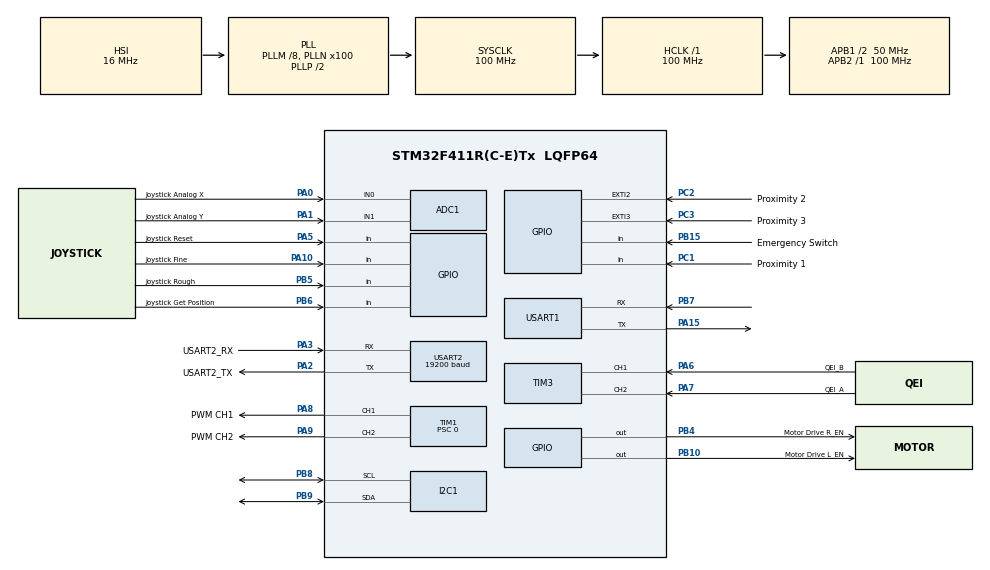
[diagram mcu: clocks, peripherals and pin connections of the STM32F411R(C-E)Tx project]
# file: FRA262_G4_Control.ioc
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ADC1.Channel-0\#ChannelRegularConversion=ADC_CHANNEL_0
ADC1.Channel-1\#ChannelRegularConversion=ADC_CHANNEL_1
ADC1.ContinuousConvMode=ENABLE
ADC1.DMAContinuousRequests=ENABLE
ADC1.NbrOfConversion=2
ADC1.NbrOfConversionFlag=1
ADC1.Rank-0\#ChannelRegularConversion=1
ADC1.Rank-1\#ChannelRegularConversion=2
ADC1.SamplingTime-0\#ChannelRegularConversion=ADC_SAMPLETIME_56CYCLES
ADC1.SamplingTime-1\#ChannelRegularConversion=ADC_SAMPLETIME_56CYCLES
ADC1.ScanConvMode=ENABLE
ADC1.master=1
ARM.CMSIS.5.6.0.CMSISJjCORE=true
ARM.CMSIS.5.6.0.CMSISJjDSP=Library
Dma.ADC1.0.Direction=DMA_PERIPH_TO_MEMORY
Dma.ADC1.0.FIFOMode=DMA_FIFOMODE_DISABLE
Dma.ADC1.0.Instance=DMA2_Stream0
Dma.ADC1.0.MemDataAlignment=DMA_MDATAALIGN_WORD
Dma.ADC1.0.MemInc=DMA_MINC_ENABLE
Dma.ADC1.0.Mode=DMA_CIRCULAR
Dma.ADC1.0.PeriphDataAlignment=DMA_PDATAALIGN_WORD
Dma.ADC1.0.PeriphInc=DMA_PINC_DISABLE
Dma.ADC1.0.Priority=DMA_PRIORITY_LOW
Dma.Request0=ADC1
Dma.Request1=USART2_TX
Dma.USART2_TX.1.Direction=DMA_MEMORY_TO_PERIPH
Dma.USART2_TX.1.FIFOMode=DMA_FIFOMODE_DISABLE
Dma.USART2_TX.1.Instance=DMA1_Stream6
Dma.USART2_TX.1.MemDataAlignment=DMA_MDATAALIGN_BYTE
Dma.USART2_TX.1.MemInc=DMA_MINC_ENABLE
Dma.USART2_TX.1.Mode=DMA_NORMAL
Dma.USART2_TX.1.PeriphDataAlignment=DMA_PDATAALIGN_BYTE
Dma.USART2_TX.1.PeriphInc=DMA_PINC_DISABLE
Dma.USART2_TX.1.Priority=DMA_PRIORITY_LOW
Mcu.Family=STM32F4
Mcu.Name=STM32F411R(C-E)Tx
Mcu.Package=LQFP64
Mcu.UserConstants=QEI_PERIOD,65536
NVIC.DMA1_Stream6_IRQn=true\:0\:0\:false\:false\:true\:false\:true\:true
NVIC.DMA2_Stream0_IRQn=true\:0\:0\:false\:false\:true\:false\:true\:true
NVIC.EXTI2_IRQn=true\:0\:0\:false\:false\:true\:true\:true\:true
NVIC.EXTI3_IRQn=true\:0\:0\:false\:false\:true\:true\:true\:true
NVIC.I2C1_ER_IRQn=true\:0\:0\:false\:false\:true\:true\:true\:true
NVIC.I2C1_EV_IRQn=true\:0\:0\:false\:false\:true\:true\:true\:true
NVIC.PriorityGroup=NVIC_PRIORITYGROUP_0
NVIC.TIM1_BRK_TIM9_IRQn=true\:0\:5\:false\:false\:true\:true\:true\:true
NVIC.TIM1_TRG_COM_TIM11_IRQn=true\:0\:0\:false\:false\:true\:true\:true\:true
NVIC.USART1_IRQn=true\:0\:0\:false\:false\:true\:true\:true\:true
NVIC.USART2_IRQn=true\:0\:0\:false\:false\:true\:true\:true\:true
PA0-WKUP.GPIO_Label=Joystick Analog X
PA0-WKUP.Signal=ADCx_IN0
PA1.GPIO_Label=Joystick Analog Y
PA1.Signal=ADCx_IN1
PA10.GPIO_Label=Joystick Fine
PA10.Signal=GPIO_Input
PA13.GPIO_Label=TMS
PA13.Mode=Serial_Wire
PA13.Signal=SYS_JTMS-SWDIO
PA14.GPIO_Label=TCK
PA14.Mode=Serial_Wire
PA14.Signal=SYS_JTCK-SWCLK
PA15.Mode=Asynchronous
PA15.Signal=USART1_TX
PA2.GPIO_Label=USART2_TX
PA2.Mode=Asynchronous
PA2.Signal=USART2_TX
PA3.GPIO_Label=USART2_RX
PA3.Mode=Asynchronous
PA3.Signal=USART2_RX
PA5.GPIO_Label=Joystick Reset
PA5.Signal=GPIO_Input
PA6.GPIO_Label=QEI_B
PA6.Signal=S_TIM3_CH1
PA7.GPIO_Label=QEI_A
PA7.Signal=S_TIM3_CH2
PA8.GPIO_Label=PWM CH1
PA8.Signal=S_TIM1_CH1
PA9.GPIO_Label=PWM CH2
PA9.Signal=S_TIM1_CH2
PB10.GPIO_Label=Motor Drive L_EN
PB10.PinState=GPIO_PIN_RESET
PB10.Signal=GPIO_Output
PB15.GPIO_Label=Emergency Switch
PB15.GPIO_PuPd=GPIO_PULLDOWN
PB15.Signal=GPIO_Input
PB3.Signal=SYS_JTDO-SWO
PB4.GPIO_Label=Motor Drive R_EN
PB4.Signal=GPIO_Output
PB5.GPIO_Label=Joystick Rough
PB5.Signal=GPIO_Input
PB6.GPIO_Label=Joystick Get Position
PB6.Signal=GPIO_Input
PB7.Mode=Asynchronous
PB7.Signal=USART1_RX
PB8.Mode=I2C
PB8.Signal=I2C1_SCL
PB9.Mode=I2C
PB9.Signal=I2C1_SDA
PC1.GPIO_Label=Proximity 1
PC1.GPIO_PuPd=GPIO_NOPULL
PC1.Signal=GPIO_Input
PC14-OSC32_IN.Mode=LSE-External-Oscillator
PC14-OSC32_IN.Signal=RCC_OSC32_IN
PC15-OSC32_OUT.Mode=LSE-External-Oscillator
PC15-OSC32_OUT.Signal=RCC_OSC32_OUT
PC2.GPIO_Label=Proximity 2
PC2.GPIO_ModeDefaultEXTI=GPIO_MODE_IT_FALLING
PC2.GPIO_PuPd=GPIO_NOPULL
PC2.Signal=GPXTI2
PC3.GPIO_Label=Proximity 3
PC3.GPIO_ModeDefaultEXTI=GPIO_MODE_IT_FALLING
PC3.GPIO_PuPd=GPIO_NOPULL
PC3.Signal=GPXTI3
PH0\ -\ OSC_IN.Mode=HSE-External-Clock-Source
PH0\ -\ OSC_IN.Signal=RCC_OSC_IN
PH1\ -\ OSC_OUT.Mode=HSE-External-Clock-Source
PH1\ -\ OSC_OUT.Signal=RCC_OSC_OUT
ProjectManager.HeapSize=0x200
ProjectManager.StackSize=0x400
ProjectManager.TargetToolchain=STM32CubeIDE
RCC.48MHZClocksFreq_Value=50000000
RCC.AHBFreq_Value=100000000
RCC.APB1CLKDivider=RCC_HCLK_DIV2
RCC.APB1Freq_Value=50000000
RCC.APB1TimFreq_Value=100000000
RCC.APB2Freq_Value=100000000
RCC.APB2TimFreq_Value=100000000
RCC.CortexFreq_Value=100000000
RCC.FLatency-AdvancedSettings=FLASH_LATENCY_3
RCC.HCLKFreq_Value=100000000
RCC.HSE_VALUE=8000000
RCC.HSI_VALUE=16000000
RCC.PLLM=8
RCC.PLLN=100
RCC.SYSCLKFreq_VALUE=100000000
RCC.SYSCLKSource=RCC_SYSCLKSOURCE_PLLCLK
RCC.VCOOutputFreq_Value=200000000
SH.ADCx_IN0.0=ADC1_IN0,IN0
SH.ADCx_IN1.0=ADC1_IN1,IN1
SH.S_TIM1_CH1.0=TIM1_CH1,PWM Generation1 CH1
SH.S_TIM1_CH2.0=TIM1_CH2,PWM Generation2 CH2
SH.S_TIM3_CH1.0=TIM3_CH1,Encoder_Interface
SH.S_TIM3_CH2.0=TIM3_CH2,Encoder_Interface
TIM1.Channel-PWM\ Generation1\ CH1=TIM_CHANNEL_1
TIM1.Channel-PWM\ Generation2\ CH2=TIM_CHANNEL_2
TIM1.Period=49999
TIM1.Prescaler=0
TIM11.Channel=TIM_CHANNEL_1
TIM11.OCMode_1=TIM_OCMODE_ACTIVE
TIM11.Period=2005
TIM11.Prescaler=99
TIM11.Pulse=1433
TIM3.EncoderMode=TIM_ENCODERMODE_TI12
TIM9.Period=999
TIM9.Prescaler=99
USART1.VirtualMode=VM_ASYNC
USART2.BaudRate=19200
USART2.Parity=PARITY_EVEN
USART2.VirtualMode=VM_ASYNC
USART2.WordLength=WORDLENGTH_9B
VP_ARM.CMSIS_VS_CMSISJjCORE_5.3.0_5.6.0.Mode=CMSISJjCORE
VP_ARM.CMSIS_VS_CMSISJjDSP_1.7.0_5.6.0.Mode=CMSISJjDSP
VP_TIM11_VS_ClockSourceINT.Mode=Enable_Timer
VP_TIM11_VS_OPM.Mode=OPM_bit
VP_TIM11_VS_no_output1.Mode=Output Compare1 No Output
VP_TIM9_VS_ClockSourceINT.Mode=Internal
board=NUCLEO-F411RE

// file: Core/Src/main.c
/* USER CODE BEGIN Header */
/**
  ******************************************************************************
  * @file           : main.c
  * @brief          : Main program body
  ******************************************************************************
  * @attention
  *
  * Copyright (c) 2023 STMicroelectronics.
  * All rights reserved.
  *
  * This software is licensed under terms that can be found in the LICENSE file
  * in the root directory of this software component.
  * If no LICENSE file comes with this software, it is provided AS-IS.
  *
  ******************************************************************************
  */
/* USER CODE END Header */
#include "main.h"

/* USER CODE BEGIN Includes */
#include "math.h"
#include "arm_math.h"
#include "ModBusRTU.h"
#include "stdio.h"
#include "string.h"
/* USER CODE END Includes */

ADC_HandleTypeDef hadc1;
DMA_HandleTypeDef hdma_adc1;

I2C_HandleTypeDef hi2c1;

TIM_HandleTypeDef htim1;
TIM_HandleTypeDef htim3;
TIM_HandleTypeDef htim9;
TIM_HandleTypeDef htim11;

UART_HandleTypeDef huart1;
UART_HandleTypeDef huart2;
DMA_HandleTypeDef hdma_usart2_tx;

/* USER CODE BEGIN PV */
// scheduler //
int scheduler = 5;
int HoleSequence = 0 ;
int TaskType = 1;

// microsecond timer //
uint64_t _micros = 0;
int64_t currentTime;

float duty = 0;
int direction = 0;
int R_EN = 1;
int L_EN = 1;

// Trajectory //
int Trajectstate = 0;
float time = 0;

float qf;
float qi;
float qdi;
float qd_max = 500;
float qdd_max = 400;
float initime = 0;

float t_half = 0;

float qdi_1 = 0;
float qdi_2 = 0;
float qi_1 = 0;
float qi_2 = 0;

float tacc ;
float qacc ;
float qdec ;
float tconst ;
float tdec ;

// PID //
int PIDFrag = 0;
int16_t position = 0;
int16_t Overshootposition = 0;
float PercentOS = 0;
float position_f = 0;
int16_t Yactualposition = 0;
float setposition = 0;
float errorposition = 0;
float u_position = 0;
float pre_errorposition = 0;
float pre_errorvelocity = 0;

float integral_p = 0;
float derivative_p = 0;
float integral_v = 0;
float derivative_v = 0;

float velocity = 0;
float velocity_mm = 0;
float Accel = 0;
float Accel_mm = 0;
float setvelocity = 0;
float sumsetvelocity = 0;
float errorvelocity = 0;

float setacc = 0;

//Without mass
float Kp_p = 100;
float Ki_p = 1.5;
float Kd_p = 0.02;

// Joystick //
int state = 1;
typedef struct LocationStructure
{
	float L1[2];
	float L2[2];
	float hole_x[9];
	float hole_y[9];
	int16_t origin_x;
	int16_t origin_y;
	int16_t orientation;
	int16_t hole_x_16;
	int16_t hole_y_16;
}Location;
Location PickTray;
Location PlaceTray;

double DeltaX = 0;
double DeltaY = 0;
double angle = 0;
float cos_Theta = 0;
float sin_Theta = 0;
float Theta = 0;

typedef struct ButtonStructure
{
	int last;
	int current;
	int flag;
}Button;
Button GetPositionButton;
Button ResetButton;
Button FineButton;
Button RoughButton;
Button HomingButton;
Button LaserUI;
Button GripperUI;
Button Emer;

int XYSwitch[2];
int JoySpeed = 0;

// End Effector //
uint8_t EndEffectorWriteFlag = 0;
uint8_t EndEffectorReadFlag = 0;
uint8_t EndEffectorDataReadBack[1];

uint8_t SoftReset[4] = {0x00, 0xFF, 0x55, 0xAA};
uint8_t Emergency[1] = {0xFF};
uint8_t QuitEmergency[4] = {0xE5, 0x7A, 0xFF, 0x81};
uint8_t TestModeOn[2] = {0x01, 0x11};
uint8_t TestModeOff[2] = {0x01, 0x00};
uint8_t RunModeOn[2] = {0x10, 0x13};
uint8_t RunModeOff[2] = {0x10, 0x8C};
uint8_t PickData[2] = {0x10, 0x5A};
uint8_t PlaceData[2] = {0x10, 0x69};

int EndEffectorState = 0 ;

// Proximity //
int Proximity = 3;
int Emercount = 0;

//Modbus Protocal//
ModbusHandleTypedef hmodbus;
u16u8_t registerFrame[70];

char TxBuffer[80] = "";

//Go Point
int16_t GoalX = 0;
int16_t last_GoalX = 0;
int PointModeflag = 0;

/* USER CODE END PV */

void SystemClock_Config(void);
static void MX_GPIO_Init(void);
static void MX_DMA_Init(void);
static void MX_USART2_UART_Init(void);
static void MX_TIM3_Init(void);
static void MX_TIM1_Init(void);
static void MX_ADC1_Init(void);
static void MX_USART1_UART_Init(void);
static void MX_TIM11_Init(void);
static void MX_TIM9_Init(void);
static void MX_I2C1_Init(void);
/* USER CODE BEGIN PFP */
void VelocityApprox();
void AccelerationApprox();
void JoystickControl();
void JoystickPinUpdate();
void JoystickLocationState();
float PIDcal();
void TrajectoryGenerator();
void Homing();
void EndEffectorWrite();
void Routine();
/* USER CODE END PFP */

int main(void)
{

  /* MCU Configuration--------------------------------------------------------*/

  /* Reset of all peripherals, Initializes the Flash interface and the Systick. */
  HAL_Init();

  /* Configure the system clock */
  SystemClock_Config();

  /* Initialize all configured peripherals */
  MX_GPIO_Init();
  MX_DMA_Init();
  MX_USART2_UART_Init();
  MX_TIM3_Init();
  MX_TIM1_Init();
  MX_ADC1_Init();
  MX_USART1_UART_Init();
  MX_TIM11_Init();
  MX_TIM9_Init();
  MX_I2C1_Init();
  /* USER CODE BEGIN 2 */

  hmodbus.huart = &huart2;
  hmodbus.htim = &htim11;
  hmodbus.slaveAddress = 0x15;
  hmodbus.RegisterSize = 70;
  Modbus_init(&hmodbus, registerFrame);

  HAL_TIM_Encoder_Start(&htim3, TIM_CHANNEL_1|TIM_CHANNEL_2);

  HAL_TIM_Base_Start(&htim1); //Start Timer1
  HAL_TIM_PWM_Start(&htim1, TIM_CHANNEL_1);
  HAL_TIM_PWM_Start(&htim1, TIM_CHANNEL_2);

//  HAL_TIM_Base_Start_IT(&htim9); //Start IT Timer9
//  HAL_TIM_Base_Start_IT(&htim4); //Start IT Timer4

  HAL_GPIO_WritePin(GPIOB, GPIO_PIN_10, L_EN);
  HAL_GPIO_WritePin(GPIOB, GPIO_PIN_4, R_EN);

  HAL_ADC_Start_DMA(&hadc1, XYSwitch, 2);

  registerFrame[1].U16 = 0;
  EndEffectorState = 0;	//SoftReset
  EndEffectorWriteFlag = 1;
  EndEffectorWrite();

  /* USER CODE END 2 */

  /* Infinite loop */
  /* USER CODE BEGIN WHILE */
  while (1)
  {
	  Modbus_Protocal_Worker();
	  static uint32_t heartbeat = 0;
	  static uint32_t uart_time = 0;
	  if(heartbeat < HAL_GetTick())
	  {
		  heartbeat = HAL_GetTick()+200;
		  registerFrame[0].U16 = 22881;
	  }

	  if (huart1.gState == HAL_UART_STATE_READY && (HAL_GetTick() >= uart_time))
	  {
		  sprintf(TxBuffer,"%d %.2f %.2f %.2f\r\n",position, setposition, velocity_mm, Accel_mm);
		  HAL_UART_Transmit_IT(&huart1, (uint8_t *)TxBuffer, strlen(TxBuffer));
		  uart_time += 20;
	  }
    /* USER CODE END WHILE */

    /* USER CODE BEGIN 3 */
	  Routine(); //Sent Y Actual Position Velocity Acceleration to Base System
	  JoystickPinUpdate(); //Check Pin Flag

	  //Emergency
	  if(HAL_GPIO_ReadPin(GPIOB, GPIO_PIN_15) == 0) //Push Emergency
	  {
		  if(Emercount == 0)
		  {
			  EndEffectorState = 7;	//Emergency
			  EndEffectorWriteFlag = 1;
			  EndEffectorWrite();
			  Emercount = 1;
			  scheduler = 6;
		  }
	  }

	  switch(scheduler)
	  {
	  //JoyStick
	  case 0:
		  //QEI
		  position = __HAL_TIM_GET_COUNTER(&htim3);
		  JoystickControl(); //Read Pin form JoyStick
		  JoystickLocationState();

		  ////////////////////////////////////////////////////////////
		  if(LaserUI.flag == 1)
		  {
			  EndEffectorState = 1;	//TestModeOn
			  EndEffectorWriteFlag = 1;
			  EndEffectorWrite();
		  }
		  if(LaserUI.flag == 2)
		  {
			  EndEffectorState = 2;	//TestModeOff
			  EndEffectorWriteFlag = 1;
			  EndEffectorWrite();
		  }
		  ///////////////////////////////////////////////////////////
		  //write//
		  if(GripperUI.flag == 1)
		  {
			  EndEffectorState = 3;	//Gripper Power On
			  EndEffectorWriteFlag = 1;
			  EndEffectorWrite();
		  }
		  if(GripperUI.flag == 2)
		  {
			  EndEffectorState = 6;	//Gripper Power Off
			  EndEffectorWriteFlag = 1;
			  EndEffectorWrite();
		  }
		  if(GripperUI.flag == 3)
		  {
			  EndEffectorState = 4;	//Gripper Pick
			  EndEffectorWriteFlag = 1;
			  EndEffectorWrite();
			  EndEffectorReadFlag = 1;
		  }
		  if(GripperUI.flag == 4)
		  {
			  EndEffectorState = 5;	//Gripper Place
			  EndEffectorWriteFlag = 1;
			  EndEffectorWrite();
			  EndEffectorReadFlag = 1;
		  }
		  static uint32_t Readbeat = 0;
		  if(Readbeat < HAL_GetTick())
		  {
			  Readbeat = HAL_GetTick()+100 ;
			  //Read//
			  if(EndEffectorReadFlag == 1 && hi2c1.State == HAL_I2C_STATE_READY)
			  {
				  HAL_I2C_Master_Receive_IT(&hi2c1, 0x15 << 1, EndEffectorDataReadBack, 1);
				  if(EndEffectorDataReadBack[0] == 0x07) // Picked
				  {
					  registerFrame[2].U16 = 2;
					  EndEffectorReadFlag = 0;
				  }
				  else if(EndEffectorDataReadBack[0] == 0x04) // Placed
				  {
					  registerFrame[2].U16 = 2;
					  EndEffectorReadFlag = 0;
				  }
			  }
		  }

		  if(registerFrame[1].U16 == 16) //Run Point Mode
		  {
			  scheduler = 7;
		  }
		  else if(registerFrame[1].U16 == 4) //Home
		  {
			  registerFrame[64].U16 = 1;
			  Proximity = 3;
			  scheduler = 5;
		  }
		  break;

	  //Go Pick
	  case 1 :
		  registerFrame[16].U16 = 8; //Y Moving Status: Go Pick
		  qf = (PickTray.hole_y[HoleSequence])/0.045;
		  qi = position;
		  PickTray.hole_x_16 = PickTray.hole_x[HoleSequence]*10;
		  registerFrame[65].U16 = PickTray.hole_x_16;
		  registerFrame[66].U16 = 3000;
		  registerFrame[67].U16 = 1;
		  registerFrame[64].U16 = 2; //X Moving Status: Run
		  Trajectstate = 0;
		  duty = 0;
		  HAL_TIM_Base_Start_IT(&htim9); //Start IT Timer9
		  scheduler = 3;
		  break;

	  //Go Place
	  case 2 :
		  registerFrame[16].U16 = 16; //Y Moving Status: Go Place
		  qf = (PlaceTray.hole_y[HoleSequence])/0.045;
		  qi = position;
		  PlaceTray.hole_x_16 = PlaceTray.hole_x[HoleSequence]*10;
		  registerFrame[65].U16 = PlaceTray.hole_x_16;
		  registerFrame[66].U16 = 3000;
		  registerFrame[67].U16 = 1;
		  registerFrame[64].U16 = 2; //X Moving Status: Run
		  Trajectstate = 0;
		  duty = 0;
		  HAL_TIM_Base_Start_IT(&htim9); //Start IT Timer9
		  scheduler = 3;
		  break;

	  //Trajectory
	  case 3:
		  //QEI
		  position = __HAL_TIM_GET_COUNTER(&htim3);
		  static uint32_t timestamp0 = 0;
		  if(HAL_GetTick() > timestamp0)
		  {
			  timestamp0 = HAL_GetTick() + 1;
			  VelocityApprox();
			  AccelerationApprox();
		  }

		  //PWM & Motor drive & PID
//		  static uint32_t timestamp2 = 0;
//		  if (HAL_GetTick()>= timestamp2)
//		  {
//			  timestamp2 = HAL_GetTick() + 1;
//			  duty = PIDcal();
//			  if (duty >= 0)
//			  {
//				  __HAL_TIM_SET_COMPARE(&htim1,TIM_CHANNEL_2,0);
//				  __HAL_TIM_SET_COMPARE(&htim1,TIM_CHANNEL_1,duty);
//			  }
//			  else if (duty < 0)
//			  {
//				  __HAL_TIM_SET_COMPARE(&htim1,TIM_CHANNEL_1,0);
//				  __HAL_TIM_SET_COMPARE(&htim1,TIM_CHANNEL_2,-1*duty);
//			  }
//		  }

		  if(position > Overshootposition){
			  Overshootposition = position;
			  PercentOS = ((Overshootposition-qf)/(qf-qi))*100;
		  }
		  // Check Final Position
		  if(position >= qf - 4 && position <= qf + 4 && registerFrame[64].U16 == 0) //&& registerFrame[64].U16 == 0
		  {
			  __HAL_TIM_SET_COMPARE(&htim1,TIM_CHANNEL_1,0);
			  __HAL_TIM_SET_COMPARE(&htim1,TIM_CHANNEL_2,0);
			  Overshootposition = 0;
			  PIDFrag = 0;
			  HAL_TIM_Base_Stop_IT(&htim9); //Stop IT Timer9

			  if(PointModeflag == 1)
			  {
				  registerFrame[16].U16 = 0;
				  scheduler = 0;
			  }
			  else
			  {
				  // End Effector
				  EndEffectorWriteFlag = 1;
				  scheduler = 4;
			  }
		  }

		  // Reset Button
		  if (ResetButton.flag == 1)
		  {
			  ResetButton.flag = 0;
			  scheduler = 0;
		  }
		  break;

	  //Proximity
	  case 4 :
		  if (HoleSequence < 9)
		  {
			  if (TaskType == 1)
			  {
				  EndEffectorState = 4;			//Pick
				  EndEffectorWrite();
			  }
			  else if (TaskType == -1)
			  {
				  EndEffectorState = 5;			//Place
				  EndEffectorWrite();
			  }
		  }
		  if (ResetButton.flag == 1)
			  {
				  ResetButton.flag = 0;
				  scheduler = 0;
			  }

		  break;

	  //Homing
	  case 5:
		  Homing();
		  break;

	  //Emergency
	  case 6:
		  __HAL_TIM_SET_COMPARE(&htim1,TIM_CHANNEL_1,0);
		  __HAL_TIM_SET_COMPARE(&htim1,TIM_CHANNEL_2,0);
		  duty = 0;

		  static uint32_t Emerstamp = 0;
		  if(Emerstamp < HAL_GetTick())
		  {
			  Emerstamp = HAL_GetTick()+200;
			  if(HAL_GPIO_ReadPin(GPIOB, GPIO_PIN_15) == 1 && Emer.last == 1)
			  {
				  HAL_Delay(2000);
				  Emercount = 0;
				  EndEffectorState = 8;	//Quit Emergency
				  EndEffectorWriteFlag = 1;
				  EndEffectorWrite();
				  Proximity = 3;
				  scheduler = 5;
			  }
			  Emer.last = HAL_GPIO_ReadPin(GPIOB, GPIO_PIN_15);
		  }
		  break;

	  //Go Point
	  case 7:
		  registerFrame[1].U16 = 0;
		  registerFrame[16].U16 = 32;

		  //X Axis
		  GoalX = registerFrame[48].U16;  	// Use int16 to store -integer
		  registerFrame[65].U16 = GoalX;  	// x-axis Target Position
		  registerFrame[66].U16 = 3000;   	// Max Speed
		  registerFrame[67].U16 = 1;        // 500 ms
		  if(registerFrame[65].U16 != last_GoalX){
			  registerFrame[64].U16 = 2;  	// RUN
		  }
		  last_GoalX = registerFrame[65].U16; // press RUN in Base System
//		  registerFrame[64].U16 = 2;  	// RUN

		  //Y Axis
		  Trajectstate = 0;
		  if(registerFrame[49].U16 >= 30000)
		  {
			  qf = (registerFrame[49].U16-65536)/0.45; //pulse
		  }
		  else
		  {
			  qf = (registerFrame[49].U16)/0.45; //Pick Tray X Position 1 //pulse
		  }
		  qi = position;
		  HAL_TIM_Base_Start_IT(&htim9); //Start IT Timer9
		  PointModeflag = 1;
		  duty = 0;
		  scheduler = 3;
		  break;
	  }
  }
  /* USER CODE END 3 */
}

void SystemClock_Config(void)
{
  RCC_OscInitTypeDef RCC_OscInitStruct = {0};
  RCC_ClkInitTypeDef RCC_ClkInitStruct = {0};

  /** Configure the main internal regulator output voltage
  */
  __HAL_RCC_PWR_CLK_ENABLE();
  __HAL_PWR_VOLTAGESCALING_CONFIG(PWR_REGULATOR_VOLTAGE_SCALE1);

  /** Initializes the RCC Oscillators according to the specified parameters
  * in the RCC_OscInitTypeDef structure.
  */
  RCC_OscInitStruct.OscillatorType = RCC_OSCILLATORTYPE_HSI;
  RCC_OscInitStruct.HSIState = RCC_HSI_ON;
  RCC_OscInitStruct.HSICalibrationValue = RCC_HSICALIBRATION_DEFAULT;
  RCC_OscInitStruct.PLL.PLLState = RCC_PLL_ON;
  RCC_OscInitStruct.PLL.PLLSource = RCC_PLLSOURCE_HSI;
  RCC_OscInitStruct.PLL.PLLM = 8;
  RCC_OscInitStruct.PLL.PLLN = 100;
  RCC_OscInitStruct.PLL.PLLP = RCC_PLLP_DIV2;
  RCC_OscInitStruct.PLL.PLLQ = 4;
  if (HAL_RCC_OscConfig(&RCC_OscInitStruct) != HAL_OK)
  {
    Error_Handler();
  }

  /** Initializes the CPU, AHB and APB buses clocks
  */
  RCC_ClkInitStruct.ClockType = RCC_CLOCKTYPE_HCLK|RCC_CLOCKTYPE_SYSCLK
                              |RCC_CLOCKTYPE_PCLK1|RCC_CLOCKTYPE_PCLK2;
  RCC_ClkInitStruct.SYSCLKSource = RCC_SYSCLKSOURCE_PLLCLK;
  RCC_ClkInitStruct.AHBCLKDivider = RCC_SYSCLK_DIV1;
  RCC_ClkInitStruct.APB1CLKDivider = RCC_HCLK_DIV2;
  RCC_ClkInitStruct.APB2CLKDivider = RCC_HCLK_DIV1;

  if (HAL_RCC_ClockConfig(&RCC_ClkInitStruct, FLASH_LATENCY_3) != HAL_OK)
  {
    Error_Handler();
  }
}

static void MX_ADC1_Init(void)
{

  ADC_ChannelConfTypeDef sConfig = {0};

  /** Configure the global features of the ADC (Clock, Resolution, Data Alignment and number of conversion)
  */
  hadc1.Instance = ADC1;
  hadc1.Init.ClockPrescaler = ADC_CLOCK_SYNC_PCLK_DIV4;
  hadc1.Init.Resolution = ADC_RESOLUTION_12B;
  hadc1.Init.ScanConvMode = ENABLE;
  hadc1.Init.ContinuousConvMode = ENABLE;
  hadc1.Init.DiscontinuousConvMode = DISABLE;
  hadc1.Init.ExternalTrigConvEdge = ADC_EXTERNALTRIGCONVEDGE_NONE;
  hadc1.Init.ExternalTrigConv = ADC_SOFTWARE_START;
  hadc1.Init.DataAlign = ADC_DATAALIGN_RIGHT;
  hadc1.Init.NbrOfConversion = 2;
  hadc1.Init.DMAContinuousRequests = ENABLE;
  hadc1.Init.EOCSelection = ADC_EOC_SINGLE_CONV;
  if (HAL_ADC_Init(&hadc1) != HAL_OK)
  {
    Error_Handler();
  }

  /** Configure for the selected ADC regular channel its corresponding rank in the sequencer and its sample time.
  */
  sConfig.Channel = ADC_CHANNEL_0;
  sConfig.Rank = 1;
  sConfig.SamplingTime = ADC_SAMPLETIME_56CYCLES;
  if (HAL_ADC_ConfigChannel(&hadc1, &sConfig) != HAL_OK)
  {
    Error_Handler();
  }

  /** Configure for the selected ADC regular channel its corresponding rank in the sequencer and its sample time.
  */
  sConfig.Channel = ADC_CHANNEL_1;
  sConfig.Rank = 2;
  if (HAL_ADC_ConfigChannel(&hadc1, &sConfig) != HAL_OK)
  {
    Error_Handler();
  }

}

static void MX_I2C1_Init(void)
{

  hi2c1.Instance = I2C1;
  hi2c1.Init.ClockSpeed = 100000;
  hi2c1.Init.DutyCycle = I2C_DUTYCYCLE_2;
  hi2c1.Init.OwnAddress1 = 0;
  hi2c1.Init.AddressingMode = I2C_ADDRESSINGMODE_7BIT;
  hi2c1.Init.DualAddressMode = I2C_DUALADDRESS_DISABLE;
  hi2c1.Init.OwnAddress2 = 0;
  hi2c1.Init.GeneralCallMode = I2C_GENERALCALL_DISABLE;
  hi2c1.Init.NoStretchMode = I2C_NOSTRETCH_DISABLE;
  if (HAL_I2C_Init(&hi2c1) != HAL_OK)
  {
    Error_Handler();
  }

}

static void MX_TIM1_Init(void)
{

  TIM_MasterConfigTypeDef sMasterConfig = {0};
  TIM_OC_InitTypeDef sConfigOC = {0};
  TIM_BreakDeadTimeConfigTypeDef sBreakDeadTimeConfig = {0};

  htim1.Instance = TIM1;
  htim1.Init.Prescaler = 0;
  htim1.Init.CounterMode = TIM_COUNTERMODE_UP;
  htim1.Init.Period = 49999;
  htim1.Init.ClockDivision = TIM_CLOCKDIVISION_DIV1;
  htim1.Init.RepetitionCounter = 0;
  htim1.Init.AutoReloadPreload = TIM_AUTORELOAD_PRELOAD_DISABLE;
  if (HAL_TIM_PWM_Init(&htim1) != HAL_OK)
  {
    Error_Handler();
  }
  sMasterConfig.MasterOutputTrigger = TIM_TRGO_RESET;
  sMasterConfig.MasterSlaveMode = TIM_MASTERSLAVEMODE_DISABLE;
  if (HAL_TIMEx_MasterConfigSynchronization(&htim1, &sMasterConfig) != HAL_OK)
  {
    Error_Handler();
  }
  sConfigOC.OCMode = TIM_OCMODE_PWM1;
  sConfigOC.Pulse = 0;
  sConfigOC.OCPolarity = TIM_OCPOLARITY_HIGH;
  sConfigOC.OCNPolarity = TIM_OCNPOLARITY_HIGH;
  sConfigOC.OCFastMode = TIM_OCFAST_DISABLE;
  sConfigOC.OCIdleState = TIM_OCIDLESTATE_RESET;
  sConfigOC.OCNIdleState = TIM_OCNIDLESTATE_RESET;
  if (HAL_TIM_PWM_ConfigChannel(&htim1, &sConfigOC, TIM_CHANNEL_1) != HAL_OK)
  {
    Error_Handler();
  }
  if (HAL_TIM_PWM_ConfigChannel(&htim1, &sConfigOC, TIM_CHANNEL_2) != HAL_OK)
  {
    Error_Handler();
  }
  sBreakDeadTimeConfig.OffStateRunMode = TIM_OSSR_DISABLE;
  sBreakDeadTimeConfig.OffStateIDLEMode = TIM_OSSI_DISABLE;
  sBreakDeadTimeConfig.LockLevel = TIM_LOCKLEVEL_OFF;
  sBreakDeadTimeConfig.DeadTime = 0;
  sBreakDeadTimeConfig.BreakState = TIM_BREAK_DISABLE;
  sBreakDeadTimeConfig.BreakPolarity = TIM_BREAKPOLARITY_HIGH;
  sBreakDeadTimeConfig.AutomaticOutput = TIM_AUTOMATICOUTPUT_DISABLE;
  if (HAL_TIMEx_ConfigBreakDeadTime(&htim1, &sBreakDeadTimeConfig) != HAL_OK)
  {
    Error_Handler();
  }
  HAL_TIM_MspPostInit(&htim1);

}

static void MX_TIM3_Init(void)
{

  TIM_Encoder_InitTypeDef sConfig = {0};
  TIM_MasterConfigTypeDef sMasterConfig = {0};

  htim3.Instance = TIM3;
  htim3.Init.Prescaler = 0;
  htim3.Init.CounterMode = TIM_COUNTERMODE_UP;
  htim3.Init.Period = 65535;
  htim3.Init.ClockDivision = TIM_CLOCKDIVISION_DIV1;
  htim3.Init.AutoReloadPreload = TIM_AUTORELOAD_PRELOAD_DISABLE;
  sConfig.EncoderMode = TIM_ENCODERMODE_TI12;
  sConfig.IC1Polarity = TIM_ICPOLARITY_RISING;
  sConfig.IC1Selection = TIM_ICSELECTION_DIRECTTI;
  sConfig.IC1Prescaler = TIM_ICPSC_DIV1;
  sConfig.IC1Filter = 0;
  sConfig.IC2Polarity = TIM_ICPOLARITY_RISING;
  sConfig.IC2Selection = TIM_ICSELECTION_DIRECTTI;
  sConfig.IC2Prescaler = TIM_ICPSC_DIV1;
  sConfig.IC2Filter = 0;
  if (HAL_TIM_Encoder_Init(&htim3, &sConfig) != HAL_OK)
  {
    Error_Handler();
  }
  sMasterConfig.MasterOutputTrigger = TIM_TRGO_RESET;
  sMasterConfig.MasterSlaveMode = TIM_MASTERSLAVEMODE_DISABLE;
  if (HAL_TIMEx_MasterConfigSynchronization(&htim3, &sMasterConfig) != HAL_OK)
  {
    Error_Handler();
  }

}

static void MX_TIM9_Init(void)
{

  TIM_ClockConfigTypeDef sClockSourceConfig = {0};

  htim9.Instance = TIM9;
  htim9.Init.Prescaler = 99;
  htim9.Init.CounterMode = TIM_COUNTERMODE_UP;
  htim9.Init.Period = 999;
  htim9.Init.ClockDivision = TIM_CLOCKDIVISION_DIV1;
  htim9.Init.AutoReloadPreload = TIM_AUTORELOAD_PRELOAD_DISABLE;
  if (HAL_TIM_Base_Init(&htim9) != HAL_OK)
  {
    Error_Handler();
  }
  sClockSourceConfig.ClockSource = TIM_CLOCKSOURCE_INTERNAL;
  if (HAL_TIM_ConfigClockSource(&htim9, &sClockSourceConfig) != HAL_OK)
  {
    Error_Handler();
  }

}

static void MX_TIM11_Init(void)
{

  TIM_OC_InitTypeDef sConfigOC = {0};

  htim11.Instance = TIM11;
  htim11.Init.Prescaler = 99;
  htim11.Init.CounterMode = TIM_COUNTERMODE_UP;
  htim11.Init.Period = 2005;
  htim11.Init.ClockDivision = TIM_CLOCKDIVISION_DIV1;
  htim11.Init.AutoReloadPreload = TIM_AUTORELOAD_PRELOAD_DISABLE;
  if (HAL_TIM_Base_Init(&htim11) != HAL_OK)
  {
    Error_Handler();
  }
  if (HAL_TIM_OC_Init(&htim11) != HAL_OK)
  {
    Error_Handler();
  }
  if (HAL_TIM_OnePulse_Init(&htim11, TIM_OPMODE_SINGLE) != HAL_OK)
  {
    Error_Handler();
  }
  sConfigOC.OCMode = TIM_OCMODE_ACTIVE;
  sConfigOC.Pulse = 1433;
  sConfigOC.OCPolarity = TIM_OCPOLARITY_HIGH;
  sConfigOC.OCFastMode = TIM_OCFAST_DISABLE;
  if (HAL_TIM_OC_ConfigChannel(&htim11, &sConfigOC, TIM_CHANNEL_1) != HAL_OK)
  {
    Error_Handler();
  }

}

static void MX_USART1_UART_Init(void)
{

  huart1.Instance = USART1;
  huart1.Init.BaudRate = 115200;
  huart1.Init.WordLength = UART_WORDLENGTH_8B;
  huart1.Init.StopBits = UART_STOPBITS_1;
  huart1.Init.Parity = UART_PARITY_NONE;
  huart1.Init.Mode = UART_MODE_TX_RX;
  huart1.Init.HwFlowCtl = UART_HWCONTROL_NONE;
  huart1.Init.OverSampling = UART_OVERSAMPLING_16;
  if (HAL_UART_Init(&huart1) != HAL_OK)
  {
    Error_Handler();
  }

}

static void MX_USART2_UART_Init(void)
{

  huart2.Instance = USART2;
  huart2.Init.BaudRate = 19200;
  huart2.Init.WordLength = UART_WORDLENGTH_9B;
  huart2.Init.StopBits = UART_STOPBITS_1;
  huart2.Init.Parity = UART_PARITY_EVEN;
  huart2.Init.Mode = UART_MODE_TX_RX;
  huart2.Init.HwFlowCtl = UART_HWCONTROL_NONE;
  huart2.Init.OverSampling = UART_OVERSAMPLING_16;
  if (HAL_UART_Init(&huart2) != HAL_OK)
  {
    Error_Handler();
  }

}

static void MX_DMA_Init(void)
{

  /* DMA controller clock enable */
  __HAL_RCC_DMA2_CLK_ENABLE();
  __HAL_RCC_DMA1_CLK_ENABLE();

  /* DMA interrupt init */
  /* DMA1_Stream6_IRQn interrupt configuration */
  HAL_NVIC_SetPriority(DMA1_Stream6_IRQn, 0, 0);
  HAL_NVIC_EnableIRQ(DMA1_Stream6_IRQn);
  /* DMA2_Stream0_IRQn interrupt configuration */
  HAL_NVIC_SetPriority(DMA2_Stream0_IRQn, 0, 0);
  HAL_NVIC_EnableIRQ(DMA2_Stream0_IRQn);

}

static void MX_GPIO_Init(void)
{
  GPIO_InitTypeDef GPIO_InitStruct = {0};

  /* GPIO Ports Clock Enable */
  __HAL_RCC_GPIOC_CLK_ENABLE();
  __HAL_RCC_GPIOH_CLK_ENABLE();
  __HAL_RCC_GPIOA_CLK_ENABLE();
  __HAL_RCC_GPIOB_CLK_ENABLE();

  /*Configure GPIO pin Output Level */
  HAL_GPIO_WritePin(GPIOB, Motor_Drive_L_EN_Pin|Motor_Drive_R_EN_Pin, GPIO_PIN_RESET);

  /*Configure GPIO pin : Proximity_1_Pin */
  GPIO_InitStruct.Pin = Proximity_1_Pin;
  GPIO_InitStruct.Mode = GPIO_MODE_INPUT;
  GPIO_InitStruct.Pull = GPIO_NOPULL;
  HAL_GPIO_Init(Proximity_1_GPIO_Port, &GPIO_InitStruct);

  /*Configure GPIO pins : Proximity_2_Pin Proximity_3_Pin */
  GPIO_InitStruct.Pin = Proximity_2_Pin|Proximity_3_Pin;
  GPIO_InitStruct.Mode = GPIO_MODE_IT_FALLING;
  GPIO_InitStruct.Pull = GPIO_NOPULL;
  HAL_GPIO_Init(GPIOC, &GPIO_InitStruct);

  /*Configure GPIO pins : Joystick_Reset_Pin Joystick_Fine_Pin */
  GPIO_InitStruct.Pin = Joystick_Reset_Pin|Joystick_Fine_Pin;
  GPIO_InitStruct.Mode = GPIO_MODE_INPUT;
  GPIO_InitStruct.Pull = GPIO_NOPULL;
  HAL_GPIO_Init(GPIOA, &GPIO_InitStruct);

  /*Configure GPIO pins : Motor_Drive_L_EN_Pin Motor_Drive_R_EN_Pin */
  GPIO_InitStruct.Pin = Motor_Drive_L_EN_Pin|Motor_Drive_R_EN_Pin;
  GPIO_InitStruct.Mode = GPIO_MODE_OUTPUT_PP;
  GPIO_InitStruct.Pull = GPIO_NOPULL;
  GPIO_InitStruct.Speed = GPIO_SPEED_FREQ_LOW;
  HAL_GPIO_Init(GPIOB, &GPIO_InitStruct);

  /*Configure GPIO pin : Emergency_Switch_Pin */
  GPIO_InitStruct.Pin = Emergency_Switch_Pin;
  GPIO_InitStruct.Mode = GPIO_MODE_INPUT;
  GPIO_InitStruct.Pull = GPIO_PULLDOWN;
  HAL_GPIO_Init(Emergency_Switch_GPIO_Port, &GPIO_InitStruct);

  /*Configure GPIO pins : Joystick_Rough_Pin Joystick_Get_Position_Pin */
  GPIO_InitStruct.Pin = Joystick_Rough_Pin|Joystick_Get_Position_Pin;
  GPIO_InitStruct.Mode = GPIO_MODE_INPUT;
  GPIO_InitStruct.Pull = GPIO_NOPULL;
  HAL_GPIO_Init(GPIOB, &GPIO_InitStruct);

  /* EXTI interrupt init*/
  HAL_NVIC_SetPriority(EXTI2_IRQn, 0, 0);
  HAL_NVIC_EnableIRQ(EXTI2_IRQn);

  HAL_NVIC_SetPriority(EXTI3_IRQn, 0, 0);
  HAL_NVIC_EnableIRQ(EXTI3_IRQn);

}

/* USER CODE BEGIN 4 */
void HAL_GPIO_EXTI_Callback(uint16_t GPIO_Pin)
{
	if(GPIO_Pin == GPIO_PIN_2)
	{
		scheduler = 5;
		Proximity = 3;
	}
	else if(GPIO_Pin == GPIO_PIN_3)
	{
		scheduler = 5;
		Proximity = 2;
	}
}

void Homing()
{
	registerFrame[1].U16 = 4;
	registerFrame[64].U16 = 1;
	registerFrame[16].U16 = 4;
	if (Proximity == 3)
	{
		__HAL_TIM_SET_COMPARE(&htim1,TIM_CHANNEL_2,0);
		__HAL_TIM_SET_COMPARE(&htim1,TIM_CHANNEL_1,10000);
	}

	else if (Proximity == 2)
	{
		__HAL_TIM_SET_COMPARE(&htim1,TIM_CHANNEL_2,10000);
		__HAL_TIM_SET_COMPARE(&htim1,TIM_CHANNEL_1,0);
	}

	//Proximity Home
	if (HAL_GPIO_ReadPin(GPIOC, GPIO_PIN_1) == 0)
	{
		Proximity = 0;
		Emercount = 0;
		registerFrame[1].U16 = 0;
		registerFrame[64].U16 = 0;
		registerFrame[16].U16 = 0;

		HAL_Delay(35);
		__HAL_TIM_SET_COMPARE(&htim1,TIM_CHANNEL_2,0);
		__HAL_TIM_SET_COMPARE(&htim1,TIM_CHANNEL_1,0);
		JoySpeed = 0;
		scheduler = 0;
	}
}

void EndEffectorWrite()
{
	switch(EndEffectorState)
	{
	case 0:
		if(EndEffectorWriteFlag == 1)
			{
				HAL_I2C_Master_Transmit(&hi2c1, 0x15 << 1, SoftReset, 4, 100);
				EndEffectorWriteFlag = 0;
			}
		break;
	case 1:
		if(EndEffectorWriteFlag == 1)
			{
				HAL_I2C_Master_Transmit(&hi2c1, 0x15 << 1, TestModeOn, 2, 100);
				registerFrame[2].U16 = 1; //End Effector Status: Laser On
				EndEffectorWriteFlag = 0;
			}
		break;
	case 2:
		if(EndEffectorWriteFlag == 1)
			{
				HAL_I2C_Master_Transmit(&hi2c1, 0x15 << 1, TestModeOff, 2, 100);
				registerFrame[2].U16 = 0; //End Effector Status: Laser Off
				EndEffectorWriteFlag = 0;
			}
		break;
	case 3:
		if(EndEffectorWriteFlag == 1)
			{
				HAL_I2C_Master_Transmit(&hi2c1, 0x15 << 1, RunModeOn, 2, 100);
				registerFrame[2].U16 = 2; //End Effector Status: Gripper Power
				EndEffectorWriteFlag = 0;
			}
		break;
	case 4:
		if(EndEffectorWriteFlag == 1)
			{
				HAL_I2C_Master_Transmit(&hi2c1, 0x15 << 1, PickData, 2, 100);
				registerFrame[2].U16 = 6; //End Effector Status: Piking
				HAL_Delay(100);
				EndEffectorReadFlag = 1;
				EndEffectorWriteFlag = 0;
			}
		else if(EndEffectorReadFlag == 1 && hi2c1.State == HAL_I2C_STATE_READY)
			{
				HAL_I2C_Master_Receive_IT(&hi2c1, 0x15 << 1, EndEffectorDataReadBack, 1);
			}
		if(EndEffectorDataReadBack[0] == 0x07)	//Picked
			{
				TaskType *= -1;
				EndEffectorReadFlag = 0;
				scheduler = 2;
			}
		break;
	case 5:
		if(EndEffectorWriteFlag == 1)
			{
				HAL_I2C_Master_Transmit(&hi2c1, 0x15 << 1, PlaceData, 2, 100);
				registerFrame[2].U16 = 10; //End Effector Status: Placing
				HAL_Delay(100);
				EndEffectorReadFlag = 1;
				EndEffectorWriteFlag = 0;
			}
		else if(EndEffectorReadFlag == 1 && hi2c1.State == HAL_I2C_STATE_READY)
			{
				HAL_I2C_Master_Receive_IT(&hi2c1, 0x15 << 1, EndEffectorDataReadBack, 1);
			}
		if(EndEffectorDataReadBack[0] == 0x04)	//Placed
			{
				registerFrame[2].U16 = 2; //End Effector Status: Gripper Power
				TaskType *= -1;
				EndEffectorReadFlag = 0;
				HoleSequence += 1;
				if (HoleSequence == 9)
				{
					HoleSequence = 0;
					TaskType = 1;
					registerFrame[1].U16 = 0;
					Proximity = 3;
					scheduler = 5;
				}
				else
				{
					scheduler = 1;
				}
			}
		break;
	case 6:
		if(EndEffectorWriteFlag == 1)
			{
				HAL_I2C_Master_Transmit(&hi2c1, 0x15 << 1, RunModeOff, 2, 100);
				registerFrame[2].U16 = 0; //End Effector Status: Off
				EndEffectorWriteFlag = 0;
			}
		break;
	case 7:
		if(EndEffectorWriteFlag == 1)
			{
				HAL_I2C_Master_Transmit(&hi2c1, 0x15 << 1, Emergency, 1, 100);
				registerFrame[2].U16 = 0; //End Effector Status: Off
				EndEffectorWriteFlag = 0;
			}
		break;
	case 8:
		if(EndEffectorWriteFlag == 1)
			{
				HAL_I2C_Master_Transmit(&hi2c1, 0x15 << 1, QuitEmergency, 4, 100);
				registerFrame[2].U16 = 0; //End Effector Status: Off
				EndEffectorWriteFlag = 0;
			}
		break;
	}
}

void VelocityApprox()
{
	static int16_t lastposition = 0;
	static float velocity_last = 0;
	static float velocity_lowpass = 0;
	static float C_V = 0.0196;
	velocity = (position - lastposition)/0.001; //pulse/s
	lastposition = position;

	velocity_lowpass = C_V*velocity + (1-C_V)*velocity_last;
	velocity_last = velocity_lowpass;

	velocity_mm = velocity_lowpass*0.045; //mm/s

}

void AccelerationApprox()
{
	static float LastVelo = 0;
	static float Accel_last = 0;
	static float Accel_lowpass = 0;
	static float C_A = 0.0177;
	Accel = (velocity_mm - LastVelo)/0.001;	//pulse/s^2
	LastVelo = velocity_mm;

	Accel_lowpass = C_A*Accel + (1-C_A)*Accel_last;
	Accel_last = Accel_lowpass;

	Accel_mm = Accel_lowpass; //mm/s^2
}

void Routine()
{
	position_f = position;
	Yactualposition = position_f*0.45;			//mm*10
	registerFrame[17].U16 = Yactualposition;	//mm*10			//Y Actual Position
	registerFrame[18].U16 = velocity*0.45;		//mm/s*10		//Y Actual Speed
	registerFrame[19].U16 = Accel*0.45; 		//mm/s^2*10		//Y Actual Acceleration
}

float PIDcal()
{
	//position control
	errorposition = setposition - position;

	if(errorposition >= 22)
	{
		errorposition += 22;
	}
	else if(errorposition <= -22)
	{
		errorposition -= 22;
	}

	integral_p = integral_p + errorposition;
	derivative_p = errorposition - pre_errorposition;
	u_position = Kp_p*errorposition + Ki_p*integral_p + Kd_p*derivative_p;

	pre_errorposition = errorposition;

	//velocity control
//	sumsetvelocity = u_position + setvelocity;
//	errorvelocity = sumsetvelocity - velocity;
//
//	integral_v = integral_v + errorvelocity;
//	derivative_v = errorvelocity - pre_errorvelocity;
//	duty = Kp_v*errorvelocity + Ki_v*integral_v + Kd_v*derivative_v;
//
//	pre_errorvelocity = errorvelocity;

//	return duty;
	return u_position;
}

void JoystickPinUpdate()
{
	  GetPositionButton.current = HAL_GPIO_ReadPin(GPIOB, GPIO_PIN_6);
	  if (GetPositionButton.last == 1 && GetPositionButton.current == 0)
	  {
		  GetPositionButton.flag = 1;
	  }
	  else
	  {
		  GetPositionButton.flag = 0;
	  }
	  GetPositionButton.last = GetPositionButton.current;

	  ResetButton.current = HAL_GPIO_ReadPin(GPIOA, GPIO_PIN_5);
	  if (ResetButton.last == 1 && ResetButton.current == 0)
	  {
		ResetButton.flag = 1;
	  }
	  else
	  {
		  ResetButton.flag = 0;
	  }
	  ResetButton.last = ResetButton.current;

	  FineButton.current = HAL_GPIO_ReadPin(GPIOA, GPIO_PIN_10);
	  if (FineButton.last == 1 && FineButton.current == 0)
	  {
		  FineButton.flag = 1;
	  }
	  else
	  {
		  FineButton.flag = 0;
	  }
	  FineButton.last = FineButton.current;

	  RoughButton.current = HAL_GPIO_ReadPin(GPIOB, GPIO_PIN_5);
	  if (RoughButton.last == 1 && RoughButton.current == 0)
	  {
		  RoughButton.flag = 1;
	  }
	  else
	  {
		  RoughButton.flag = 0;
	  }
	  RoughButton.last = RoughButton.current;

	  HomingButton.current = HAL_GPIO_ReadPin(GPIOB, GPIO_PIN_13);
	  if (HomingButton.last == 1 && HomingButton.current == 0)
	  {
		  HomingButton.flag = 1;
	  }
	  else
	  {
		  HomingButton.flag = 0;
	  }
	  HomingButton.last = HomingButton.current;

	  LaserUI.current = registerFrame[2].U16;
	  if (LaserUI.last == 0 && LaserUI.current == 1)
	  {
		  LaserUI.flag = 1;	//Rising Edge
	  }
	  else if(LaserUI.last == 1 && LaserUI.current == 0)
	  {
		  LaserUI.flag = 2;	//Falling Edge
	  }
	  else
	  {
		  LaserUI.flag = 0;
	  }
	  LaserUI.last = LaserUI.current;

	  GripperUI.current = registerFrame[2].U16;
	  if (GripperUI.last == 0 && GripperUI.current == 2)
	  {
		  GripperUI.flag = 1; //Gripper On
	  }
	  else if(GripperUI.last == 2 && GripperUI.current == 0)
	  {
		  GripperUI.flag = 2; //Gripper Off
	  }
	  else if(GripperUI.last == 2 && GripperUI.current == 6)
	  {
		  GripperUI.flag = 3; //Gripper Pick
	  }
	  else if(GripperUI.last == 2 && GripperUI.current == 10)
	  {
		  GripperUI.flag = 4; //Gripper Place
	  }
	  else
	  {
		  GripperUI.flag = 0;
	  }
	  GripperUI.last = GripperUI.current;
}

void JoystickControl()
{
	if(RoughButton.flag == 1)
	{
		JoySpeed = 0;
		RoughButton.flag = 0;
	}
	else if(FineButton.flag == 1)
	{
		JoySpeed = 1;
		FineButton.flag = 0;
	}
	else if(HomingButton.flag == 1)
	{
		JoySpeed = 2;
		HomingButton.flag = 0;
	}

	switch(JoySpeed)
	{
	//Rough
	case 0:
		//Y-Axis Control
		if(XYSwitch[1] > 3000)
		{
			__HAL_TIM_SET_COMPARE(&htim1,TIM_CHANNEL_2,0);
			__HAL_TIM_SET_COMPARE(&htim1,TIM_CHANNEL_1,15000);
		}
		else if(XYSwitch[1] < 1000)
		{
			__HAL_TIM_SET_COMPARE(&htim1,TIM_CHANNEL_2,15000);
			__HAL_TIM_SET_COMPARE(&htim1,TIM_CHANNEL_1,0);
		}
		else
		{
			__HAL_TIM_SET_COMPARE(&htim1,TIM_CHANNEL_2,0);
			__HAL_TIM_SET_COMPARE(&htim1,TIM_CHANNEL_1,0);
		}
		//X-Axis Control
		if(XYSwitch[0] > 3000)
		{
			registerFrame[64].U16 = 4; //X Moving Status: Jog Left
		}
		else if(XYSwitch[0] < 1000)
		{
			registerFrame[64].U16 = 8; //X Moving Status: Jog Right
		}
		else
		{
			registerFrame[64].U16 = 0; //X Moving Status: Stop
		}
		break;

	//Fine
	case 1:
		if(XYSwitch[1] > 3000)
		{
			__HAL_TIM_SET_COMPARE(&htim1,TIM_CHANNEL_2,0);
			__HAL_TIM_SET_COMPARE(&htim1,TIM_CHANNEL_1,7000);
		}
		else if(XYSwitch[1] < 1000)
		{
			__HAL_TIM_SET_COMPARE(&htim1,TIM_CHANNEL_2,7000);
			__HAL_TIM_SET_COMPARE(&htim1,TIM_CHANNEL_1,0);
		}
		else
		{
			__HAL_TIM_SET_COMPARE(&htim1,TIM_CHANNEL_2,0);
			__HAL_TIM_SET_COMPARE(&htim1,TIM_CHANNEL_1,0);
		}
		//X-Axis Control
		if(XYSwitch[0] > 3000)
		{
			registerFrame[64].U16 = 4; //X Moving Status: Jog Left
		}
		else if(XYSwitch[0] < 1000)
		{
			registerFrame[64].U16 = 8; //X Moving Status: Jog Right
		}
		else
		{
			registerFrame[64].U16 = 0; //X Moving Status: Stop
		}
		break;

	//JoyStick Home
	case 2:
		__HAL_TIM_SET_COMPARE(&htim1,TIM_CHANNEL_2,0);
		__HAL_TIM_SET_COMPARE(&htim1,TIM_CHANNEL_1,10000);
		Homing();
		break;
	}
}

void JoystickLocationState()
{
	if(registerFrame[1].U16 == 1)	//Base System Status: Set Pick Tray
	{
		registerFrame[1].U16 = 0;
		registerFrame[16].U16 = 1;	//Y Moving Status: Jog Pick
		EndEffectorState = 1;		//TestModeOn
		registerFrame[2].U16 = 1;	//End Effector Status: Laser On
		EndEffectorWriteFlag = 1;
		EndEffectorWrite();
		state = 1;					//Go Pick state
	}
	else if(registerFrame[1].U16 == 2)	//Base System Status: Set Place Tray
	{
		registerFrame[1].U16 = 0;
		registerFrame[16].U16 = 2;	//Y Moving Status: Jog Place
		registerFrame[2].U16 = 1;	//Laser On
		state = 3;					//Go Place state
	}
	if(registerFrame[1].U16 == 8)	//Run Tray Mode
	{
		state = 5;
	}

	switch(state)
	{
	//Get Pick Tray 1st Point
	case 1:
		PickTray.L1[0] = 0;
		PickTray.L2[0] = 0;
		PickTray.L1[1] = 0;
		PickTray.L2[1] = 0;
		if (GetPositionButton.flag == 1)
		{
			if(registerFrame[68].U16 >= 30000)
			{
				PickTray.L1[0] = (registerFrame[68].U16-65536)/10;
			}
			else
			{
				PickTray.L1[0] = (registerFrame[68].U16)/10; //Pick Tray X Position 1 //mm
			}
			PickTray.L1[1] = position*0.045; //Pick Tray Y Position 1 //mm
			GetPositionButton.flag = 0;
			state = 2;
		}
		break;

	//Get Pick Tray 2nd Point
	case 2:
		if (GetPositionButton.flag == 1)
		{
			if(registerFrame[68].U16 >= 30000)
			{
				PickTray.L2[0] = (registerFrame[68].U16-65536)/10;
			}
			else
			{
				PickTray.L2[0] = (registerFrame[68].U16)/10; //Pick Tray X Position 1 //mm0
			}
			PickTray.L2[1] = position*0.045; //Pick Tray Y Position 2 //mm
			GetPositionButton.flag = 0;

			cos_Theta = (PickTray.L2[0]-PickTray.L1[0])/sqrtf(((PickTray.L2[0]-PickTray.L1[0])*(PickTray.L2[0]-PickTray.L1[0]))+((PickTray.L2[1]-PickTray.L1[1])*(PickTray.L2[1]-PickTray.L1[1])));
			sin_Theta = (PickTray.L2[1]-PickTray.L1[1])/sqrtf(((PickTray.L2[0]-PickTray.L1[0])*(PickTray.L2[0]-PickTray.L1[0]))+((PickTray.L2[1]-PickTray.L1[1])*(PickTray.L2[1]-PickTray.L1[1])));
			//sin_Theta = sin(angle);

			PickTray.hole_x[0] = (cos_Theta*10)+(-sin_Theta*-10)+PickTray.L1[0];
			PickTray.hole_y[0] = (sin_Theta*10)+(cos_Theta*-10)+PickTray.L1[1];

			PickTray.hole_x[1] = (cos_Theta*30)+(-sin_Theta*-10)+PickTray.L1[0];
			PickTray.hole_y[1] = (sin_Theta*30)+(cos_Theta*-10)+PickTray.L1[1];

			PickTray.hole_x[2] = (cos_Theta*50)+(-sin_Theta*-10)+PickTray.L1[0];
			PickTray.hole_y[2] = (sin_Theta*50)+(cos_Theta*-10)+PickTray.L1[1];

			PickTray.hole_x[3] = (cos_Theta*10)+(-sin_Theta*-25)+PickTray.L1[0];
			PickTray.hole_y[3] = (sin_Theta*10)+(cos_Theta*-25)+PickTray.L1[1];

			PickTray.hole_x[4] = (cos_Theta*30)+(-sin_Theta*-25)+PickTray.L1[0];
			PickTray.hole_y[4] = (sin_Theta*30)+(cos_Theta*-25)+PickTray.L1[1];

			PickTray.hole_x[5] = (cos_Theta*50)+(-sin_Theta*-25)+PickTray.L1[0];
			PickTray.hole_y[5] = (sin_Theta*50)+(cos_Theta*-25)+PickTray.L1[1];

			PickTray.hole_x[6] = (cos_Theta*10)+(-sin_Theta*-40)+PickTray.L1[0];
			PickTray.hole_y[6] = (sin_Theta*10)+(cos_Theta*-40)+PickTray.L1[1];

			PickTray.hole_x[7] = (cos_Theta*30)+(-sin_Theta*-40)+PickTray.L1[0];
			PickTray.hole_y[7] = (sin_Theta*30)+(cos_Theta*-40)+PickTray.L1[1];

			PickTray.hole_x[8] = (cos_Theta*50)+(-sin_Theta*-40)+PickTray.L1[0];
			PickTray.hole_y[8] = (sin_Theta*50)+(cos_Theta*-40)+PickTray.L1[1];

			PickTray.origin_x = (PickTray.L1[0]+(50*sin_Theta))*10;
			PickTray.origin_y = (PickTray.L1[1]-(50*cos_Theta))*10;
			PickTray.orientation = acosf(cos_Theta)*(180/3.14159265358979323846264338328);

			registerFrame[35].U16 = PickTray.origin_x;
			registerFrame[36].U16 = PickTray.origin_y;
			registerFrame[37].U16 = PickTray.orientation * 100;

			registerFrame[16].U16 = 0;
		}
		else if (ResetButton.flag == 1)
		{
			ResetButton.flag = 0;
			state = 1;
		}
		break;

	//Get Place Tray 1st Point
	case 3:
		PlaceTray.L1[0] = 0;
		PlaceTray.L2[0] = 0;
		PlaceTray.L1[1] = 0;
		PlaceTray.L2[1] = 0;
		if (GetPositionButton.flag == 1)
		{
			if(registerFrame[68].U16 >= 30000)
			{
				PlaceTray.L1[0] = (registerFrame[68].U16-65536)/10;
			}
			else
			{
				PlaceTray.L1[0] = (registerFrame[68].U16)/10; //Pick Tray X Position 1 //mm
			}
			PlaceTray.L1[1] = position*0.045; //Place Tray Y Position 1 //mm
			GetPositionButton.flag = 0;
			state = 4;
		}
		else if (ResetButton.flag == 1)
		{
			ResetButton.flag = 0;
			state = 1;
		}
		break;

	//Get Place Tray 2nd Point
	case 4:
		if (GetPositionButton.flag == 1)
		{
			if(registerFrame[68].U16 >= 30000)
			{
				PlaceTray.L2[0] = (registerFrame[68].U16-65536)/10;
			}
			else
			{
				PlaceTray.L2[0] = (registerFrame[68].U16)/10; //Pick Tray X Position 1 //mm
			}
			PlaceTray.L2[1] = position*0.045; //Place Tray Y Position 2 //mm
			GetPositionButton.flag = 0;

			cos_Theta = (PlaceTray.L2[0]-PlaceTray.L1[0])/sqrtf(((PlaceTray.L2[0]-PlaceTray.L1[0])*(PlaceTray.L2[0]-PlaceTray.L1[0]))+((PlaceTray.L2[1]-PlaceTray.L1[1])*(PlaceTray.L2[1]-PlaceTray.L1[1])));
			sin_Theta = (PlaceTray.L2[1]-PlaceTray.L1[1])/sqrtf(((PlaceTray.L2[0]-PlaceTray.L1[0])*(PlaceTray.L2[0]-PlaceTray.L1[0]))+((PlaceTray.L2[1]-PlaceTray.L1[1])*(PlaceTray.L2[1]-PlaceTray.L1[1])));

			PlaceTray.hole_x[0] = (cos_Theta*10)+(-sin_Theta*-10)+PlaceTray.L1[0];
			PlaceTray.hole_y[0] = (sin_Theta*10)+(cos_Theta*-10)+PlaceTray.L1[1];

			PlaceTray.hole_x[1] = (cos_Theta*30)+(-sin_Theta*-10)+PlaceTray.L1[0];
			PlaceTray.hole_y[1] = (sin_Theta*30)+(cos_Theta*-10)+PlaceTray.L1[1];

			PlaceTray.hole_x[2] = (cos_Theta*50)+(-sin_Theta*-10)+PlaceTray.L1[0];
			PlaceTray.hole_y[2] = (sin_Theta*50)+(cos_Theta*-10)+PlaceTray.L1[1];

			PlaceTray.hole_x[3] = (cos_Theta*10)+(-sin_Theta*-25)+PlaceTray.L1[0];
			PlaceTray.hole_y[3] = (sin_Theta*10)+(cos_Theta*-25)+PlaceTray.L1[1];

			PlaceTray.hole_x[4] = (cos_Theta*30)+(-sin_Theta*-25)+PlaceTray.L1[0];
			PlaceTray.hole_y[4] = (sin_Theta*30)+(cos_Theta*-25)+PlaceTray.L1[1];

			PlaceTray.hole_x[5] = (cos_Theta*50)+(-sin_Theta*-25)+PlaceTray.L1[0];
			PlaceTray.hole_y[5] = (sin_Theta*50)+(cos_Theta*-25)+PlaceTray.L1[1];

			PlaceTray.hole_x[6] = (cos_Theta*10)+(-sin_Theta*-40)+PlaceTray.L1[0];
			PlaceTray.hole_y[6] = (sin_Theta*10)+(cos_Theta*-40)+PlaceTray.L1[1];

			PlaceTray.hole_x[7] = (cos_Theta*30)+(-sin_Theta*-40)+PlaceTray.L1[0];
			PlaceTray.hole_y[7] = (sin_Theta*30)+(cos_Theta*-40)+PlaceTray.L1[1];

			PlaceTray.hole_x[8] = (cos_Theta*50)+(-sin_Theta*-40)+PlaceTray.L1[0];
			PlaceTray.hole_y[8] = (sin_Theta*50)+(cos_Theta*-40)+PlaceTray.L1[1];

			PlaceTray.origin_x = (PlaceTray.L1[0]+(50*sin_Theta))*10;
			PlaceTray.origin_y = (PlaceTray.L1[1]-(50*cos_Theta))*10;
			PlaceTray.orientation = acosf(cos_Theta)*(180/3.14159265358979323846264338328);

			registerFrame[35].U16 = PlaceTray.origin_x;
			registerFrame[36].U16 = PlaceTray.origin_y;
			registerFrame[37].U16 = PlaceTray.orientation * 100;

			registerFrame[16].U16 = 0;
		}
		else if (ResetButton.flag == 1)
		{
			ResetButton.flag = 0;
			state = 1;
		}
		break;
	case 5:
		EndEffectorState = 2;		//TestModeOff
		registerFrame[2].U16 = 0;	//End Effector Status: Laser Off
		EndEffectorWriteFlag = 1;
		EndEffectorWrite();

		HAL_Delay(100);

		EndEffectorState = 3;		//RunModeOn
		registerFrame[2].U16 = 2;	//End Effector Status: Gripper Power
		EndEffectorWriteFlag = 1;
		EndEffectorWrite();

		HAL_Delay(100);

		state = 1;
		scheduler = 1;				//Go Pick
		if (ResetButton.flag == 1)
		{
			ResetButton.flag = 0;
			state = 1;
		}
		break;
	}
}

void HAL_TIM_PeriodElapsedCallback(TIM_HandleTypeDef *htim)
{
	if(htim == &htim9) //check call back from timer9
	{
		if(scheduler == 3)
		{
			TrajectoryGenerator();
			if(PIDFrag == 1){
				duty = PIDcal();
				if (duty >= 0)
				{
				  __HAL_TIM_SET_COMPARE(&htim1,TIM_CHANNEL_2,0);
				  __HAL_TIM_SET_COMPARE(&htim1,TIM_CHANNEL_1,duty);
				}
				else if (duty < 0)
				{
				  __HAL_TIM_SET_COMPARE(&htim1,TIM_CHANNEL_1,0);
				  __HAL_TIM_SET_COMPARE(&htim1,TIM_CHANNEL_2,-1*duty);
				}
			}
		}
	}
//	if(htim == &htim4){
//		if(scheduler == 4 && EndEffectorReadFlag == 1)
//		{
//			if (hi2c1.State == HAL_I2C_STATE_READY) {
//				HAL_I2C_Master_Receive_IT(&hi2c1, 0x15 << 1, EndEffectorDataReadBack, 1);
//			}
//		}
//	}
}

void TrajectoryGenerator()
{
	switch(Trajectstate)
	{
	case 0: //initial Condition & Case Check
//			qi = position;
			qdi = 0;
			qd_max = 22222.22;  //1000 pulse/s
			qdd_max = 22222.22; //1000 pulse/s^2 /0.045
//			qdd_max = 11111.11; //500 pulse/s^2 /0.045 with mass

		  if(qf > qi)
		  {
			  t_half = sqrtf((qf-qi)/qdd_max);
		  }
		  else if(qf < qi)
		  {
			  t_half = sqrtf(-1*(qf-qi)/qdd_max);
		  }

		  if(qf-qi < 0)
		  {
			  qd_max = -1*qd_max;
			  qdd_max = -1*qdd_max;
		  }

		  tacc = (qd_max-qdi)/qdd_max;
		  qacc = qdi*tacc + 0.5*qdd_max*tacc*tacc;
		  qdec = qacc;
		  tconst = ((qf-qi)-qacc-qdec)/qd_max;
		  tdec = tacc;

		  if(fabs(qdi+qdd_max*t_half) >= fabs(qd_max))
		  {
			  initime = time;
			  Trajectstate = 2;
		  }
		  else
		  {
			  initime = time;
			  Trajectstate = 1;
		  }
		  break;

	case 1:
		PIDFrag = 1;
		  if(time <= t_half + initime)
		  {
			  setacc = qdd_max;
			  setvelocity = qdi + setacc*(time-initime);
			  setposition = qi + qdi*(time-initime)+0.5*setacc*(time-initime)*(time-initime);

			  qi_1 = setposition;
			  qdi_1 = setvelocity;
			  time += 0.001;
		  }
		  else if(t_half + initime < time && time <= (2*t_half) + initime)
		  {
			  setacc = -qdd_max;
			  setvelocity = qdi_1 + setacc*(time-initime-t_half);
			  setposition = qi_1 + qdi_1*(time-initime-t_half)+0.5*setacc*(time-initime-t_half)*(time-initime-t_half);
			  time += 0.001;
		  }
		  else if(time > (2*t_half) + initime){
			  setposition = qf;
		  }
		break;

	case 2:
		PIDFrag = 1;
		 if(time <= tacc + initime)
		 {
			 setacc = qdd_max;
			 setvelocity = qdi + setacc*(time-initime);
			 setposition = qi + qdi*(time-initime)+0.5*setacc*(time-initime)*(time-initime);

			 qi_1 = setposition;
			 qdi_1 = setvelocity;
			 time += 0.001;
		 }
		 else if(tacc+initime < time && time <= initime+tacc+tconst)
		 {
			 setacc = 0;
			 setvelocity = qd_max;
			 setposition = qi_1 + qd_max*(time-initime-tacc);

			 qi_2 = setposition;
			 qdi_2 = setvelocity;
			 time += 0.001;
		 }
		 else if(tacc+tconst+initime < time && time <= tacc+tconst+tdec+initime)
		 {
			 setacc = -qdd_max;
			 setvelocity = qdi_2 + setacc*(time-initime-tacc-tconst);
			 setposition = qi_2 + qdi_2*(time-initime-tacc-tconst)+0.5*setacc*(time-initime-tacc-tconst)*(time-initime-tacc-tconst);
			 time += 0.001;
		 }
		 else if(time > tacc+tconst+tdec+initime){
			 setposition = qf;
		 }
		 break;
	case 3: // wait state
//		setposition = position;
		break;
	}

}

/* USER CODE END 4 */

void Error_Handler(void)
{
  __disable_irq();
  while (1)
  {
  }
}
